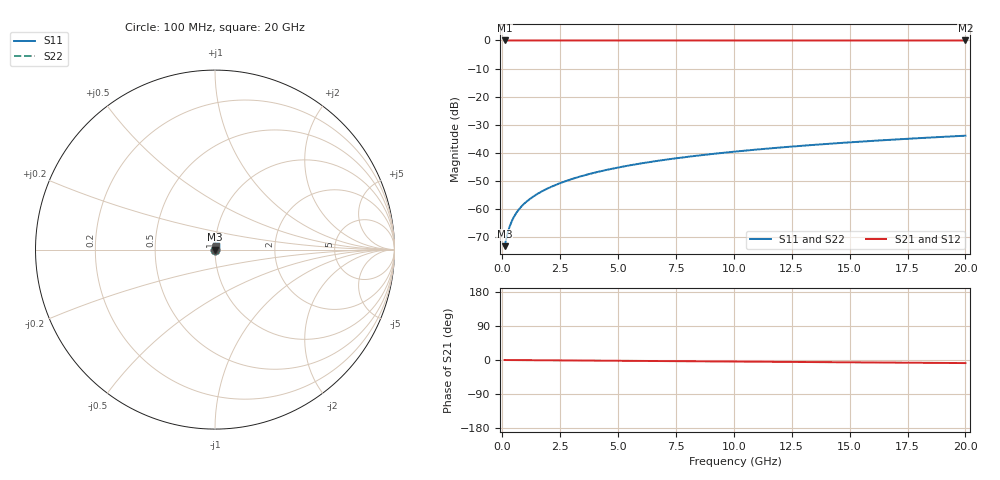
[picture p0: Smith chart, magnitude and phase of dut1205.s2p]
! Touchstone file exported from HFSS 2026.1.0
!  File:  C:/ffzhzh/LocalFiles/Ansys_Project_Files/temp_train_TSV_1205_1783192723_22436.aedt
!  Generated:  03:20:14 AM Jul  5, 2026
!  Design:  TSV
!  Project:  temp_train_TSV_1205_1783192723_22436
! Variables:
!  h_bsmrdl = 2um
!  h_ox = 20um
!  h_rdl = 5um
!  h_sub = 80.95um
!  h_tmrdl = 5um
!  h_tsv = 80.95um
!  h_via = 3um
!  l_bsmrdl = 300um
!  l_sub = 416.96um
!  l_tmrdl = 200um
!  m_sub = 200um
!  pitch = 40.74um
!  r_tsv = 8.48um
!  s_tmrdl = 10um
!  w_bsmrdl = 18um
!  w_sub = 500um
!  w_tmrdl = 12um
!  x_tsv_center1 = 206um
!  x_tsv_center2 = 524um
!  x_tsv_center3 = 736um
!  x_tsv_center4 = 1054um
!  x_tsv_center5 = 1266um
!  x_tsv_center6 = 1584um
# GHz S MA R 50.000000
! Terminal data exported
! Port[1] = TSV1_1_T1
! Port[2] = TSV1_1_T2
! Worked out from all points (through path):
!   200 points, 100 MHz to 20 GHz, reference 50 ohm
!   highest |S21| = 0.00 dB at 100 MHz (marker M1); lowest = 0.0 dB at 20 GHz (marker M2)
!   group delay of S21, straight-line fit = 1.13 ps
!   lowest |S11| = -73.1 dB at 100 MHz (marker M3), VSWR 1.00, Z = 50 + j0.0146 ohm
!   |S11| at or under -10 dB: start of sweep to end of sweep
!   |S22| runs from -73.1 to -33.9 dB; largest |S21 - S12| = 3e-15
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0.1  0.000221 41.3  0.9998 -0.0  0.9998 -0.0  0.000221 41.3
! Gamma 0 0 0 0
! Port Impedance 50 0 50 0
0.2  0.0003395 58.4  0.9998 -0.1  0.9998 -0.1  0.0003395 58.4
0.3  0.0004708 65.5  0.9998 -0.1  0.9998 -0.1  0.0004708 65.5
0.4  0.0006025 68.8  0.9998 -0.2  0.9998 -0.2  0.0006025 68.8
0.5  0.0007309 70.7  0.9998 -0.2  0.9998 -0.2  0.0007309 70.7
0.6  0.0008552 71.8  0.9997 -0.3  0.9997 -0.3  0.0008552 71.8
0.7  0.0009753 72.6  0.9997 -0.3  0.9997 -0.3  0.0009753 72.6
0.8  0.001092 73.3  0.9997 -0.3  0.9997 -0.3  0.001092 73.3
1  0.001317 74.3  0.9997 -0.4  0.9997 -0.4  0.001317 74.3
1.4  0.001751 75.9  0.9996 -0.6  0.9996 -0.6  0.001751 75.9
1.7  0.00207 76.9  0.9995 -0.7  0.9995 -0.7  0.00207 76.9
2  0.002387 77.7  0.9995 -0.8  0.9995 -0.8  0.002387 77.7
2.7  0.003126 78.9  0.9995 -1.1  0.9995 -1.1  0.003126 78.9
3.5  0.003966 79.7  0.9994 -1.4  0.9994 -1.4  0.003966 79.7
4.2  0.004694 80.1  0.9993 -1.7  0.9993 -1.7  0.004694 80.1
5  0.005518 80.4  0.9993 -2.1  0.9993 -2.1  0.005518 80.4
6.8  0.007346 80.5  0.9991 -2.8  0.9991 -2.8  0.007346 80.5
8.3  0.00885 80.5  0.999 -3.4  0.999 -3.4  0.00885 80.5
10.1  0.01064 80.3  0.9989 -4.1  0.9989 -4.1  0.01064 80.3
13.4  0.0139 79.6  0.9987 -5.5  0.9987 -5.5  0.0139 79.6
16.7  0.01712 78.7  0.9985 -6.8  0.9985 -6.8  0.01712 78.7
20  0.0203 77.7  0.9983 -8.1  0.9983 -8.1  0.0203 77.7
